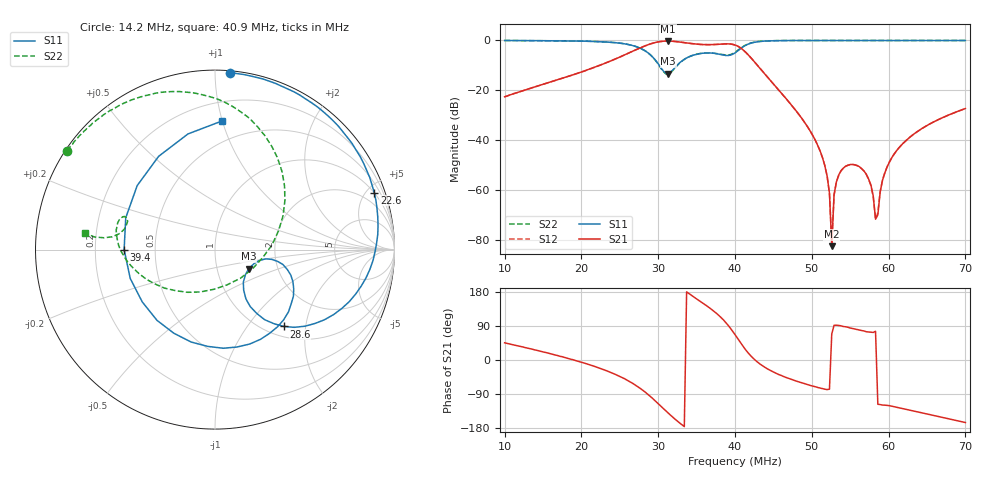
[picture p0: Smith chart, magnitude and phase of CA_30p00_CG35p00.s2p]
#  HZ  S  RI  R  50.00
! Rohde & Schwarz ZVT8 8Ports - Version 4.11 - 1300.0000k08 SN: 100242
! Date: 2026-07-31 14:40:08
! Measurements: S11 S21 S12 S22
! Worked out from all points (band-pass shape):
!   201 points, 10 MHz to 70 MHz, reference 50 ohm
!   highest |S21| = -0.25 dB at 31.3 MHz (marker M1); lowest = -82.5 dB at 52.6 MHz (marker M2)
!   |S21| within 3 dB of the highest: 27.45 MHz to 40.84 MHz (13.39 MHz wide, 39.2 % of centre)
!   lowest |S11| = -13.3 dB at 31.3 MHz (marker M3), VSWR 1.55, Z = 71 - j15.9 ohm
!   |S11| at or under -10 dB: 30.15 MHz to 32.45 MHz (2.302 MHz wide, 7.35 % of centre)
!   |S22| runs from -13.7 to 0.0 dB; largest |S21 - S12| = 0.0038
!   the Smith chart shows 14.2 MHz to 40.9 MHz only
!   S11 on the Smith chart (normalised r, x): 14.2 MHz: 0.01, +1.09; 22.6 MHz: 0.98, +5.59; 28.6 MHz: 1.19, -1.52; 39.4 MHz: 0.33, +0.00; 40.9 MHz: 0.34, +1.00
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1e7  -0.4054 0.9102  0.0521 0.0528  0.0518 0.0525  -0.9182 0.3871
1.42e7  0.0858 0.9865  0.1084 0.0519  0.1086 0.0519  -0.8238 0.5512
2.02e7  0.7376 0.6249  0.2369 -0.0294  0.2361 -0.0293  -0.569 0.7822
2.26e7  0.8871 0.318  0.2994 -0.1282  0.301 -0.128  -0.3889 0.8577
2.86e7  0.3833 -0.428  0.00492 -0.8121  0.00256 -0.8109  0.3732 0.4352
3.01e7  0.1723 -0.2747  -0.4279 -0.8385  -0.4267 -0.8378  0.3171 0.0254
3.13e7  0.1874 -0.1066  -0.7442 -0.6242  -0.743 -0.6245  0.0666 -0.1967
3.52e7  0.4095 -0.3464  -0.7799 0.3077  -0.7792 0.3059  -0.5375 0.0256
3.79e7  -0.1336 -0.5148  -0.3877 0.7428  -0.3871 0.7419  -0.5052 0.1844
3.94e7  -0.5064 8.94e-06  0.0881 0.8427  0.0877 0.8435  -0.507 0.1113
4e7  -0.4334 0.3567  0.3157 0.7455  0.3159 0.7445  -0.5725 0.0713
4.09e7  0.0396 0.7169  0.5161 0.4383  0.5157 0.4383  -0.7221 0.0912
4.36e7  0.963 -0.0459  0.2298 -0.0634  0.2293 -0.0642  -0.8441 0.4751
5.02e7  0.1374 -0.9879  0.0042 -0.011  0.00421 -0.011  -0.5298 0.8448
5.2e7  -0.1201 -0.9913  0.000389 -0.00184  0.000394 -0.00183  -0.4481 0.8889
5.26e7  -0.2014 -0.9758  2.68e-05 6.97e-05  6.47e-05 5.58e-05  -0.4228 0.9031
5.29e7  -0.2413 -0.9679  -2.24e-05 0.000817  -4.19e-05 0.000776  -0.4097 0.9085
5.38e7  -0.3526 -0.932  -8.04e-06 0.00242  5.88e-05 0.00242  -0.3701 0.9249
5.68e7  -0.6755 -0.7342  0.000558 0.00234  0.000562 0.00232  -0.2422 0.9665
5.83e7  -0.7984 -0.5969  6.33e-05 0.000252  7.25e-05 0.000251  -0.1798 0.9812
6.01e7  -0.9072 -0.4113  -0.00184 -0.00312  -0.00186 -0.00312  -0.104 0.9916
7e7  -0.7374 0.6688  -0.0416 -0.0111  -0.0416 -0.0111  0.3003 0.9501
